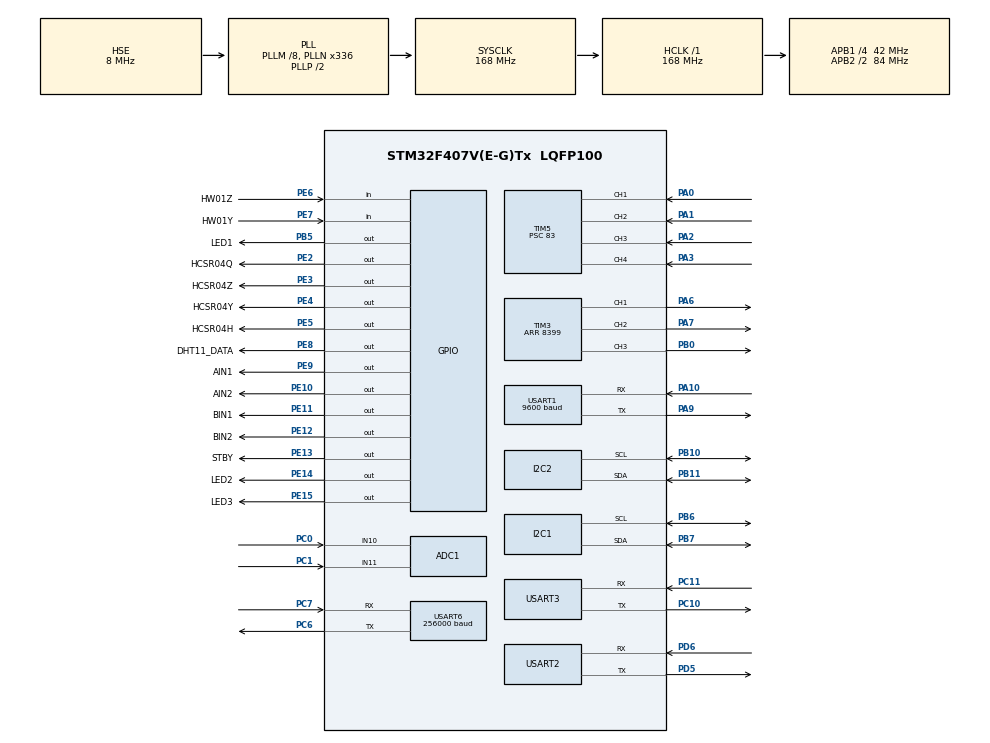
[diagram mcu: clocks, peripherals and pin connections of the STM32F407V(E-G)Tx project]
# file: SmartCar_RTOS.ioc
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ADC1.Channel-0\#ChannelRegularConversion=ADC_CHANNEL_10
ADC1.Channel-3\#ChannelRegularConversion=ADC_CHANNEL_11
ADC1.InjNumberOfConversion=0
ADC1.NbrOfConversion=2
ADC1.NbrOfConversionFlag=1
ADC1.Rank-0\#ChannelRegularConversion=1
ADC1.Rank-3\#ChannelRegularConversion=2
ADC1.SamplingTime-0\#ChannelRegularConversion=ADC_SAMPLETIME_480CYCLES
ADC1.SamplingTime-3\#ChannelRegularConversion=ADC_SAMPLETIME_480CYCLES
ADC1.ScanConvMode=ENABLE
ADC1.master=1
Dma.ADC1.0.Direction=DMA_PERIPH_TO_MEMORY
Dma.ADC1.0.FIFOMode=DMA_FIFOMODE_DISABLE
Dma.ADC1.0.Instance=DMA2_Stream0
Dma.ADC1.0.MemDataAlignment=DMA_MDATAALIGN_HALFWORD
Dma.ADC1.0.MemInc=DMA_MINC_ENABLE
Dma.ADC1.0.Mode=DMA_NORMAL
Dma.ADC1.0.PeriphDataAlignment=DMA_PDATAALIGN_HALFWORD
Dma.ADC1.0.PeriphInc=DMA_PINC_DISABLE
Dma.ADC1.0.Priority=DMA_PRIORITY_HIGH
Dma.Request0=ADC1
FREERTOS.configTOTAL_HEAP_SIZE=20480
Mcu.Family=STM32F4
Mcu.Name=STM32F407V(E-G)Tx
Mcu.Package=LQFP100
NVIC.DMA2_Stream0_IRQn=true\:5\:0\:false\:false\:true\:true\:false\:true\:true
NVIC.PriorityGroup=NVIC_PRIORITYGROUP_4
NVIC.TIM1_UP_TIM10_IRQn=true\:15\:0\:false\:false\:true\:false\:false\:true\:true
NVIC.TIM5_IRQn=true\:5\:0\:true\:false\:true\:true\:true\:true\:true
NVIC.TimeBase=TIM1_UP_TIM10_IRQn
NVIC.TimeBaseIP=TIM1
NVIC.USART1_IRQn=true\:5\:0\:true\:false\:true\:true\:true\:true\:true
NVIC.USART2_IRQn=true\:5\:0\:true\:false\:true\:true\:true\:true\:true
NVIC.USART3_IRQn=true\:5\:0\:true\:false\:true\:true\:true\:true\:true
NVIC.USART6_IRQn=true\:5\:0\:true\:false\:true\:true\:true\:true\:true
PA0-WKUP.Signal=S_TIM5_CH1
PA1.Signal=S_TIM5_CH2
PA10.Mode=Asynchronous
PA10.Signal=USART1_RX
PA13.Mode=Serial_Wire
PA13.Signal=SYS_JTMS-SWDIO
PA14.Mode=Serial_Wire
PA14.Signal=SYS_JTCK-SWCLK
PA2.Signal=S_TIM5_CH3
PA3.Signal=S_TIM5_CH4
PA6.Signal=S_TIM3_CH1
PA7.Signal=S_TIM3_CH2
PA9.Mode=Asynchronous
PA9.Signal=USART1_TX
PB0.Signal=S_TIM3_CH3
PB10.Mode=I2C
PB10.Signal=I2C2_SCL
PB11.Mode=I2C
PB11.Signal=I2C2_SDA
PB5.GPIO_Label=LED1
PB5.GPIO_ModeDefaultOutputPP=GPIO_MODE_OUTPUT_PP
PB5.GPIO_PuPd=GPIO_NOPULL
PB5.GPIO_Speed=GPIO_SPEED_FREQ_HIGH
PB5.PinState=GPIO_PIN_SET
PB5.Signal=GPIO_Output
PB6.Mode=I2C
PB6.Signal=I2C1_SCL
PB7.Mode=I2C
PB7.Signal=I2C1_SDA
PC0.Signal=ADCx_IN10
PC1.Signal=ADCx_IN11
PC10.Mode=Asynchronous
PC10.Signal=USART3_TX
PC11.Mode=Asynchronous
PC11.Signal=USART3_RX
PC14-OSC32_IN.Mode=LSE-External-Oscillator
PC14-OSC32_IN.Signal=RCC_OSC32_IN
PC15-OSC32_OUT.Mode=LSE-External-Oscillator
PC15-OSC32_OUT.Signal=RCC_OSC32_OUT
PC6.Mode=Asynchronous
PC6.Signal=USART6_TX
PC7.Mode=Asynchronous
PC7.Signal=USART6_RX
PD5.Mode=Asynchronous
PD5.Signal=USART2_TX
PD6.Mode=Asynchronous
PD6.Signal=USART2_RX
PE10.GPIO_Label=AIN2
PE10.GPIO_ModeDefaultOutputPP=GPIO_MODE_OUTPUT_PP
PE10.GPIO_PuPd=GPIO_NOPULL
PE10.GPIO_Speed=GPIO_SPEED_FREQ_LOW
PE10.PinState=GPIO_PIN_RESET
PE10.Signal=GPIO_Output
PE11.GPIO_Label=BIN1
PE11.GPIO_ModeDefaultOutputPP=GPIO_MODE_OUTPUT_PP
PE11.GPIO_PuPd=GPIO_NOPULL
PE11.GPIO_Speed=GPIO_SPEED_FREQ_LOW
PE11.PinState=GPIO_PIN_RESET
PE11.Signal=GPIO_Output
PE12.GPIO_Label=BIN2
PE12.GPIO_ModeDefaultOutputPP=GPIO_MODE_OUTPUT_PP
PE12.GPIO_PuPd=GPIO_NOPULL
PE12.GPIO_Speed=GPIO_SPEED_FREQ_LOW
PE12.PinState=GPIO_PIN_RESET
PE12.Signal=GPIO_Output
PE13.GPIO_Label=STBY
PE13.GPIO_Speed=GPIO_SPEED_FREQ_LOW
PE13.PinState=GPIO_PIN_SET
PE13.Signal=GPIO_Output
PE14.GPIO_Label=LED2
PE14.GPIO_ModeDefaultOutputPP=GPIO_MODE_OUTPUT_PP
PE14.GPIO_PuPd=GPIO_NOPULL
PE14.GPIO_Speed=GPIO_SPEED_FREQ_LOW
PE14.PinState=GPIO_PIN_SET
PE14.Signal=GPIO_Output
PE15.GPIO_Label=LED3
PE15.GPIO_ModeDefaultOutputPP=GPIO_MODE_OUTPUT_PP
PE15.GPIO_PuPd=GPIO_NOPULL
PE15.GPIO_Speed=GPIO_SPEED_FREQ_LOW
PE15.PinState=GPIO_PIN_SET
PE15.Signal=GPIO_Output
PE2.GPIO_Label=HCSR04Q
PE2.GPIO_ModeDefaultOutputPP=GPIO_MODE_OUTPUT_PP
PE2.GPIO_PuPd=GPIO_NOPULL
PE2.GPIO_Speed=GPIO_SPEED_FREQ_HIGH
PE2.PinState=GPIO_PIN_RESET
PE2.Signal=GPIO_Output
PE3.GPIO_Label=HCSR04Z
PE3.GPIO_ModeDefaultOutputPP=GPIO_MODE_OUTPUT_PP
PE3.GPIO_PuPd=GPIO_NOPULL
PE3.GPIO_Speed=GPIO_SPEED_FREQ_HIGH
PE3.PinState=GPIO_PIN_RESET
PE3.Signal=GPIO_Output
PE4.GPIO_Label=HCSR04Y
PE4.GPIO_ModeDefaultOutputPP=GPIO_MODE_OUTPUT_PP
PE4.GPIO_PuPd=GPIO_NOPULL
PE4.GPIO_Speed=GPIO_SPEED_FREQ_HIGH
PE4.PinState=GPIO_PIN_RESET
PE4.Signal=GPIO_Output
PE5.GPIO_Label=HCSR04H
PE5.GPIO_ModeDefaultOutputPP=GPIO_MODE_OUTPUT_PP
PE5.GPIO_PuPd=GPIO_NOPULL
PE5.GPIO_Speed=GPIO_SPEED_FREQ_HIGH
PE5.PinState=GPIO_PIN_RESET
PE5.Signal=GPIO_Output
PE6.GPIO_Label=HW01Z
PE6.GPIO_Mode=GPIO_MODE_INPUT
PE6.GPIO_PuPd=GPIO_NOPULL
PE6.Signal=GPIO_Input
PE7.GPIO_Label=HW01Y
PE7.GPIO_Mode=GPIO_MODE_INPUT
PE7.GPIO_PuPd=GPIO_NOPULL
PE7.Signal=GPIO_Input
PE8.GPIO_Label=DHT11_DATA
PE8.GPIO_Speed=GPIO_SPEED_FREQ_HIGH
PE8.PinState=GPIO_PIN_SET
PE8.Signal=GPIO_Output
PE9.GPIO_Label=AIN1
PE9.GPIO_ModeDefaultOutputPP=GPIO_MODE_OUTPUT_PP
PE9.GPIO_PuPd=GPIO_NOPULL
PE9.GPIO_Speed=GPIO_SPEED_FREQ_LOW
PE9.PinState=GPIO_PIN_RESET
PE9.Signal=GPIO_Output
PH0-OSC_IN.Mode=HSE-External-Oscillator
PH0-OSC_IN.Signal=RCC_OSC_IN
PH1-OSC_OUT.Mode=HSE-External-Oscillator
PH1-OSC_OUT.Signal=RCC_OSC_OUT
ProjectManager.HeapSize=0x200
ProjectManager.StackSize=0x400
ProjectManager.TargetToolchain=MDK-ARM V5.32
RCC.48MHZClocksFreq_Value=84000000
RCC.AHBFreq_Value=168000000
RCC.APB1CLKDivider=RCC_HCLK_DIV4
RCC.APB1Freq_Value=42000000
RCC.APB1TimFreq_Value=84000000
RCC.APB2CLKDivider=RCC_HCLK_DIV2
RCC.APB2Freq_Value=84000000
RCC.APB2TimFreq_Value=168000000
RCC.CortexFreq_Value=168000000
RCC.EnbaleCSS=true
RCC.HCLKFreq_Value=168000000
RCC.HSE_VALUE=8000000
RCC.HSI_VALUE=16000000
RCC.PLLM=8
RCC.PLLN=336
RCC.PLLSourceVirtual=RCC_PLLSOURCE_HSE
RCC.SYSCLKFreq_VALUE=168000000
RCC.SYSCLKSource=RCC_SYSCLKSOURCE_PLLCLK
RCC.VCOOutputFreq_Value=336000000
SH.ADCx_IN10.0=ADC1_IN10,IN10
SH.ADCx_IN11.0=ADC1_IN11,IN11
SH.S_TIM3_CH1.0=TIM3_CH1,PWM Generation1 CH1
SH.S_TIM3_CH2.0=TIM3_CH2,PWM Generation2 CH2
SH.S_TIM3_CH3.0=TIM3_CH3,PWM Generation3 CH3
SH.S_TIM5_CH1.0=TIM5_CH1,Input_Capture1_from_TI1
SH.S_TIM5_CH2.0=TIM5_CH2,Input_Capture2_from_TI2
SH.S_TIM5_CH3.0=TIM5_CH3,Input_Capture3_from_TI3
SH.S_TIM5_CH4.0=TIM5_CH4,Input_Capture4_from_TI4
TIM3.Channel-PWM\ Generation1\ CH1=TIM_CHANNEL_1
TIM3.Channel-PWM\ Generation2\ CH2=TIM_CHANNEL_2
TIM3.Channel-PWM\ Generation3\ CH3=TIM_CHANNEL_3
TIM3.Period=8399
TIM5.Channel-Input_Capture1_from_TI1=TIM_CHANNEL_1
TIM5.Channel-Input_Capture2_from_TI2=TIM_CHANNEL_2
TIM5.Channel-Input_Capture3_from_TI3=TIM_CHANNEL_3
TIM5.Channel-Input_Capture4_from_TI4=TIM_CHANNEL_4
TIM5.ICFilter_CH1=1
TIM5.ICFilter_CH2=1
TIM5.ICFilter_CH3=1
TIM5.ICFilter_CH4=1
TIM5.Prescaler=83
USART1.BaudRate=9600
USART1.VirtualMode=VM_ASYNC
USART2.VirtualMode=VM_ASYNC
USART3.VirtualMode=VM_ASYNC
USART6.BaudRate=256000
USART6.VirtualMode=VM_ASYNC
VP_FREERTOS_VS_CMSIS_V2.Mode=CMSIS_V2
VP_SYS_VS_tim1.Mode=TIM1
VP_TIM3_VS_ClockSourceINT.Mode=Internal
VP_TIM5_VS_ClockSourceINT.Mode=Internal
board=custom

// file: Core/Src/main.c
/* USER CODE BEGIN Header */
/**
  ******************************************************************************
  * @file           : main.c
  * @brief          : Main program body
  ******************************************************************************
  * @attention
  *
  * Copyright (c) 2026 STMicroelectronics.
  * All rights reserved.
  *
  * This software is licensed under terms that can be found in the LICENSE file
  * in the root directory of this software component.
  * If no LICENSE file comes with this software, it is provided AS-IS.
  *
  ******************************************************************************
  */
/* USER CODE END Header */
#include "main.h"
#include "cmsis_os.h"
#include "adc.h"
#include "dma.h"
#include "i2c.h"
#include "tim.h"
#include "usart.h"
#include "gpio.h"

/* USER CODE BEGIN Includes */
#include "app_rtos.h"   /* 2026-08-24：App_Watchdog_Init/Feed（独立看门狗） */

/* USER CODE END Includes */

void SystemClock_Config(void);
void MX_FREERTOS_Init(void);

int main(void)
{

  /* MCU Configuration--------------------------------------------------------*/

  /* Reset of all peripherals, Initializes the Flash interface and the Systick. */
  HAL_Init();

  /* USER CODE BEGIN Init */
  /* 2026-08-24：尽早启用独立看门狗（IWDG，LSI 独立时钟，不依赖系统时钟配置）。
   * 超时 20s（见 app_rtos.c App_Watchdog_Init 的说明）：必须能覆盖整个初始化阶段，
   * 否则 OLED_Init 等耗时初始化在调度器启动前就可能触发复位造成"反复复位卡死"。
   * 任何阶段死机/死循环（含初始化失败进 Error_Handler）都会由看门狗自动复位恢复；
   * 正常运行由 TaskDisplay 每 50ms 喂狗一次，20s 裕量绝不误触发。 */
  App_Watchdog_Init();

  /* USER CODE END Init */

  /* Configure the system clock */
  SystemClock_Config();

  /* Initialize all configured peripherals */
  MX_GPIO_Init();
  MX_DMA_Init();
  MX_ADC1_Init();
  MX_I2C1_Init();
  MX_I2C2_Init();
  MX_TIM3_Init();
  MX_TIM5_Init();
  MX_USART1_UART_Init();
  MX_USART2_UART_Init();
  MX_USART3_UART_Init();
  MX_USART6_UART_Init();

  /* Init scheduler */
  osKernelInitialize();

  /* Call init function for freertos objects (in cmsis_os2.c) */
  MX_FREERTOS_Init();

  /* Start scheduler */
  osKernelStart();

  /* We should never get here as control is now taken by the scheduler */

  /* Infinite loop */
  while (1)
  {

  }
}

void SystemClock_Config(void)
{
  RCC_OscInitTypeDef RCC_OscInitStruct = {0};
  RCC_ClkInitTypeDef RCC_ClkInitStruct = {0};

  /** Configure the main internal regulator output voltage
  */
  __HAL_RCC_PWR_CLK_ENABLE();
  __HAL_PWR_VOLTAGESCALING_CONFIG(PWR_REGULATOR_VOLTAGE_SCALE1);

  /** Initializes the RCC Oscillators according to the specified parameters
  * in the RCC_OscInitTypeDef structure.
  */
  RCC_OscInitStruct.OscillatorType = RCC_OSCILLATORTYPE_LSI|RCC_OSCILLATORTYPE_HSE;
  RCC_OscInitStruct.HSEState = RCC_HSE_ON;
  RCC_OscInitStruct.LSIState = RCC_LSI_ON;
  RCC_OscInitStruct.PLL.PLLState = RCC_PLL_ON;
  RCC_OscInitStruct.PLL.PLLSource = RCC_PLLSOURCE_HSE;
  RCC_OscInitStruct.PLL.PLLM = 8;
  RCC_OscInitStruct.PLL.PLLN = 336;
  RCC_OscInitStruct.PLL.PLLP = RCC_PLLP_DIV2;
  RCC_OscInitStruct.PLL.PLLQ = 4;
  if (HAL_RCC_OscConfig(&RCC_OscInitStruct) != HAL_OK)
  {
    Error_Handler();
  }

  /** Initializes the CPU, AHB and APB buses clocks
  */
  RCC_ClkInitStruct.ClockType = RCC_CLOCKTYPE_HCLK|RCC_CLOCKTYPE_SYSCLK
                              |RCC_CLOCKTYPE_PCLK1|RCC_CLOCKTYPE_PCLK2;
  RCC_ClkInitStruct.SYSCLKSource = RCC_SYSCLKSOURCE_PLLCLK;
  RCC_ClkInitStruct.AHBCLKDivider = RCC_SYSCLK_DIV1;
  RCC_ClkInitStruct.APB1CLKDivider = RCC_HCLK_DIV4;
  RCC_ClkInitStruct.APB2CLKDivider = RCC_HCLK_DIV2;

  if (HAL_RCC_ClockConfig(&RCC_ClkInitStruct, FLASH_LATENCY_5) != HAL_OK)
  {
    Error_Handler();
  }

  /** Enables the Clock Security System
  */
  /* 2026-08-24：移除 HAL_RCC_EnableCSS()。
   * 原因：CSS 在 HSE 受干扰停振时会触发 NMI，而原 NMI_Handler 处理完是死循环，
   * 表现为"运行中突然整机冻结、只能断电恢复"。面包板长线环境下 HSE 偶发
   * 抖动概率不可忽略，本设计不需要运行中热切时钟，故关闭 CSS 从根上消除此隐患。 */
}

void HAL_TIM_PeriodElapsedCallback(TIM_HandleTypeDef *htim)
{
  if (htim->Instance == TIM1) {
    HAL_IncTick();
  }
}

void Error_Handler(void)
{
  /* USER CODE BEGIN Error_Handler_Debug */
  /* User can add his own implementation to report the HAL error return state */
  /* 2026-08-24：不再 __disable_irq()+死循环（那样只能断电恢复）。
   * 保持中断开启原地等待，由独立看门狗(超时20s)自动复位整机恢复。 */
  while (1)
  {
  }
  /* USER CODE END Error_Handler_Debug */
}

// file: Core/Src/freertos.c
/* USER CODE BEGIN Header */
/**
  ******************************************************************************
  * File Name          : freertos.c
  * Description        : Code for freertos applications
  ******************************************************************************
  * @attention
  *
  * Copyright (c) 2026 STMicroelectronics.
  * All rights reserved.
  *
  * This software is licensed under terms that can be found in the LICENSE file
  * in the root directory of this software component.
  * If no LICENSE file comes with this software, it is provided AS-IS.
  *
  ******************************************************************************
  */
/* USER CODE END Header */

#include "FreeRTOS.h"
#include "task.h"
#include "main.h"
#include "cmsis_os.h"
#include "tb6612_motor.h"

/* USER CODE BEGIN Includes */
#include "hcsr04.h"
#include "app_rtos.h"
#include "OLED.h"
#include "gas_sensor.h"
#include "dht11.h"
#include "beep.h"
#include "mpu6050.h"
/* USER CODE END Includes */

/* 注：defaultTask 已移除，全部任务由 App_Init() 统一创建（见 App/app_rtos.c） */

void MX_FREERTOS_Init(void); /* (MISRA C 2004 rule 8.1) */

void MX_FREERTOS_Init(void) {
  /* USER CODE BEGIN Init */

  if (TB6612_Motor_Init() != HAL_OK)
  {
    Error_Handler();
  }

  /* 超声波输入捕获初始化（须在 MX_TIM5_Init 之后） */
  HCSR04_Init();

  /* OLED 初始化（I2C2 已由 MX_I2C2_Init 配置，内部含上电延时与清屏） */
  OLED_Init();

  /* 气体 ADC 连续采集（ADC1+DMA 循环搬运，零 CPU 占用） */
  GasSensor_Init();

  /* DHT11 初始化（DWT 微秒延时 + 总线互斥量，总线置空闲高） */
  DHT11_Init();

  /* 无源蜂鸣器初始化（TIM8_CH2N 可变频率，PB0 重配，静默=常高） */
  Beep_Init();

  /* MPU6050 初始化（I2C1；失败不致命，mpu_ok=0 时航向修正自动禁用） */
  /* 2026-08-28：MPU6050 初始化移出启动序列，改由 TaskSensor 异步完成。
   * 原因：外接 MPU6050 模块若接线/上电异常，启动前同步初始化会把问题
   * 放大成"整机起不来、OLED 无显示"；异步后 MPU 异常只禁用航向修正
   * (mpu_ok=0)，其余功能照常，且传感任务会周期重试自愈（见 app_tasks.c）。 */

  /* 创建 App 层全部任务（传感/决策/电机/蓝牙/K230/显示） */
  App_Init();

  /* USER CODE END Init */

  /* Create the thread(s) */
  /* USER CODE BEGIN RTOS_THREADS */
  /* 线程已由 App_Init() 统一创建 */
  /* USER CODE END RTOS_THREADS */

}

/* USER CODE BEGIN Application */

/* ============================ 任务栈溢出钩子（2026-09-05 改为非冻结） ============================
 * 上一版(09-04)钩子里用 taskDISABLE_INTERRUPTS()+死循环"冻结现场"，
 * 结果一旦触发整机停摆：电机停在短路制动态(嗡鸣不转)、OLED 定格、
 * TaskDisplay 没机会运行（承诺的 OVF 显示永远打不出来），只能等看门狗复位。
 * 现改为【非冻结】：仅记录任务名并置位，立即返回让系统继续跑；
 * 由 TaskDisplay 在 OLED 上打印 "OVF:<任务名>" 并蜂鸣提示，方便定位。
 * 注意：当前 FreeRTOSConfig.h 中 configCHECK_FOR_STACK_OVERFLOW=0（检测关闭），
 *       本钩子不会被调用，仅作为将来重新开启检测时的安全实现保留。
 * 约束：钩子运行在中断禁止上下文，禁止调用 RTOS API 与阻塞函数。 */
volatile char g_stack_overflow_task[16] = "";   /* 溢出的任务名（空串=未溢出） */

void vApplicationStackOverflowHook(TaskHandle_t xTask, char *pcTaskName)
{
    (void)xTask;
    /* 记录任务名（手动拷贝，不依赖字符串库） */
    for (uint8_t i = 0u; i < 15u; i++) {
        g_stack_overflow_task[i] = pcTaskName[i];
        if (pcTaskName[i] == '\0') break;
    }
    g_stack_overflow_task[15] = '\0';
    /* 直接返回，不冻结系统；故障提示交给 TaskDisplay 显示 */
}

/* USER CODE END Application */
